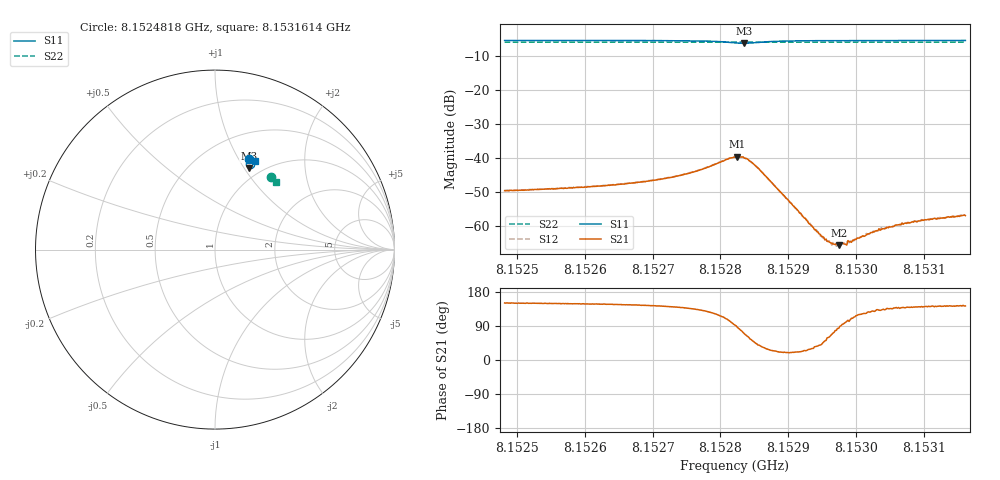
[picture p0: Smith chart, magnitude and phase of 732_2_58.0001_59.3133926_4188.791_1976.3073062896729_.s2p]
#  HZ  S  RI  R  50.00
! Rohde & Schwarz Vector Network Analyzer
! Rohde-Schwarz,ZNB20-2Port,1311601062101988,3.16
! Created: UTC 3/21/2024, 1:23:08 AM
! freq[Hz]  re:S11  im:S11  re:S21  im:S21  re:S12  im:S12  re:S22  im:S22
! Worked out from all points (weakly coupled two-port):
!   401 points, 8.1524818 GHz to 8.1531614 GHz, reference 50 ohm
!   highest |S21| = -39.55 dB at 8.152825 GHz (marker M1); lowest = -65.6 dB at 8.1529745 GHz (marker M2)
!   lowest |S11| = -6.2 dB at 8.1528352 GHz (marker M3), VSWR 2.93, Z = 43.9 + j52.5 ohm
!   |S11| at or under -10 dB: nowhere
!   |S22| runs from -5.9 to -5.8 dB; largest |S21 - S12| = 0.00041
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8.15248176e9  0.1883 0.5065  -0.0029 0.00165  -0.00291 0.0017  0.3097 0.4065
8.1525956e9  0.1977 0.5026  -0.00319 0.00197  -0.00319 0.00204  0.3155 0.402
8.15266016e9  0.2039 0.4997  -0.00348 0.00239  -0.0035 0.00244  0.3186 0.3992
8.15270943e9  0.2094 0.4961  -0.00389 0.00296  -0.00387 0.00305  0.3212 0.3972
8.1527621e9  0.2174 0.4877  -0.00446 0.00455  -0.00439 0.00469  0.3238 0.3947
8.15281138e9  0.2165 0.4609  -0.00263 0.00939  -0.00242 0.00953  0.3255 0.3917
8.15282157e9  0.2072 0.4535  -0.000349 0.0104  -0.000125 0.0104  0.3255 0.3913
8.15282497e9  0.2028 0.4521  0.000656 0.0105  0.000863 0.0105  0.3255 0.3912
8.15283516e9  0.1884 0.4537  0.00351 0.00943  0.00363 0.00948  0.3254 0.3911
8.15284536e9  0.178 0.4636  0.00519 0.00714  0.00536 0.0071  0.3258 0.3911
8.15285895e9  0.1755 0.4784  0.00526 0.00398  0.00532 0.00388  0.3265 0.3912
8.15293541e9  0.1985 0.498  0.000854 0.000505  0.000854 0.000525  0.3312 0.3885
8.152949e9  0.2012 0.4982  0.00054 0.000467  0.000494 0.000519  0.3318 0.3878
8.1529575e9  0.2024 0.4981  0.000313 0.000511  0.00034 0.000493  0.3323 0.3876
8.15296769e9  0.204 0.4979  0.000158 0.000519  0.000156 0.000526  0.333 0.3871
8.15297449e9  0.2051 0.4978  5.97e-05 0.000523  4.23e-05 0.000538  0.3331 0.3867
8.15298298e9  0.2062 0.4976  -6.94e-05 0.000542  -7.84e-05 0.000557  0.3337 0.3864
8.15299997e9  0.2083 0.4973  -0.000288 0.00057  -0.000284 0.000579  0.3345 0.3856
8.15303055e9  0.2117 0.4965  -0.000586 0.000632  -0.000549 0.000648  0.3359 0.3842
8.15304924e9  0.2136 0.4959  -0.000695 0.000689  -0.000699 0.000703  0.3369 0.3836
8.15310022e9  0.2183 0.4946  -0.00095 0.000775  -0.000946 0.000767  0.3393 0.3812
8.15316138e9  0.2232 0.4927  -0.00114 0.000869  -0.00118 0.000901  0.3422 0.3786
